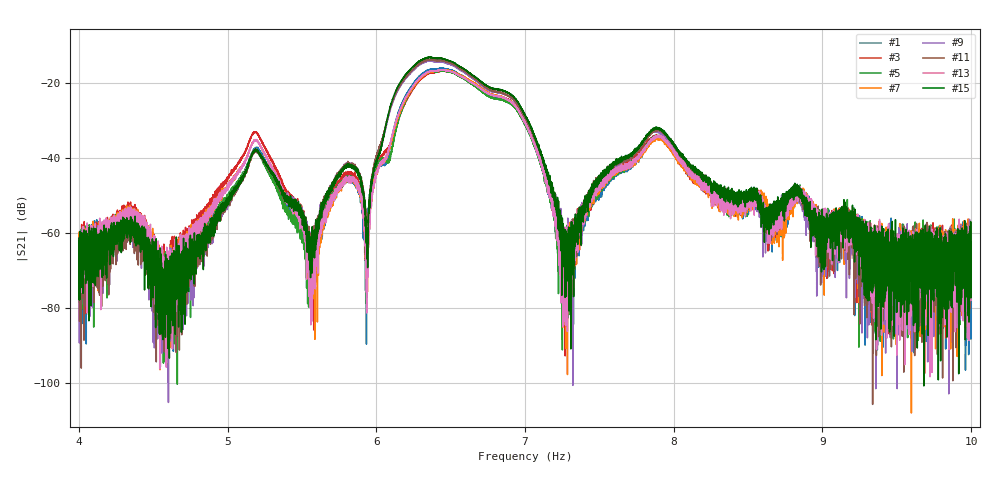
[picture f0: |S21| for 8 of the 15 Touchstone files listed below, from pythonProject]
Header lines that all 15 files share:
!Created with skrf (http://scikit-rf.org).
# Hz S RI R 50.0
!freq ReS11 ImS11 ReS21 ImS21 ReS12 ImS12 ReS22 ImS22
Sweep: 4 Hz to 10 Hz
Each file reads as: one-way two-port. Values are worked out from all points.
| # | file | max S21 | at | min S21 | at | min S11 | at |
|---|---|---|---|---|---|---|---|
| 1 | Measurement_00040.s2p | -15.98 dB | 6.438 Hz | -99.9 dB | 4.599 Hz | -20.4 dB | 5.891 Hz |
| 2 | Measurement_00042.s2p | -13.36 dB | 6.361 Hz | -108.0 dB | 9.803 Hz | -39.8 dB | 5.842 Hz |
| 3 | Measurement_00043.s2p | -16.70 dB | 6.449 Hz | -97.5 dB | 9.687 Hz | -18.2 dB | 5.927 Hz |
| 4 | Measurement_00044.s2p | -13.62 dB | 6.372 Hz | -109.6 dB | 9.949 Hz | -33.1 dB | 5.829 Hz |
| 5 | Measurement_00045.s2p | -16.62 dB | 6.449 Hz | -100.4 dB | 4.662 Hz | -23.0 dB | 5.911 Hz |
| 6 | Measurement_00046.s2p | -13.74 dB | 6.369 Hz | -116.1 dB | 4.577 Hz | -25.6 dB | 5.809 Hz |
| 7 | Measurement_00048.s2p | -16.39 dB | 6.451 Hz | -108.0 dB | 9.598 Hz | -18.6 dB | 5.908 Hz |
| 8 | Measurement_00049.s2p | -14.29 dB | 6.361 Hz | -104.3 dB | 9.667 Hz | -22.3 dB | 6.687 Hz |
| 9 | Measurement_00050.s2p | -13.99 dB | 6.355 Hz | -105.2 dB | 4.602 Hz | -28.9 dB | 5.806 Hz |
| 10 | Measurement_00052.s2p | -16.62 dB | 6.439 Hz | -110.8 dB | 9.343 Hz | -20.0 dB | 5.906 Hz |
| 11 | Measurement_00056.s2p | -13.70 dB | 6.369 Hz | -105.7 dB | 9.338 Hz | -23.4 dB | 5.811 Hz |
| 12 | Measurement_00057.s2p | -12.95 dB | 6.364 Hz | -103.6 dB | 4.629 Hz | -26.1 dB | 5.811 Hz |
| 13 | Measurement_00059.s2p | -16.40 dB | 6.441 Hz | -98.4 dB | 9.724 Hz | -18.9 dB | 5.914 Hz |
| 14 | Measurement_00060.s2p | -14.74 dB | 6.369 Hz | -101.4 dB | 9.617 Hz | -28.7 dB | 5.878 Hz |
| 15 | Measurement_00061.s2p | -13.06 dB | 6.369 Hz | -100.8 dB | 9.682 Hz | -30.8 dB | 5.821 Hz |
